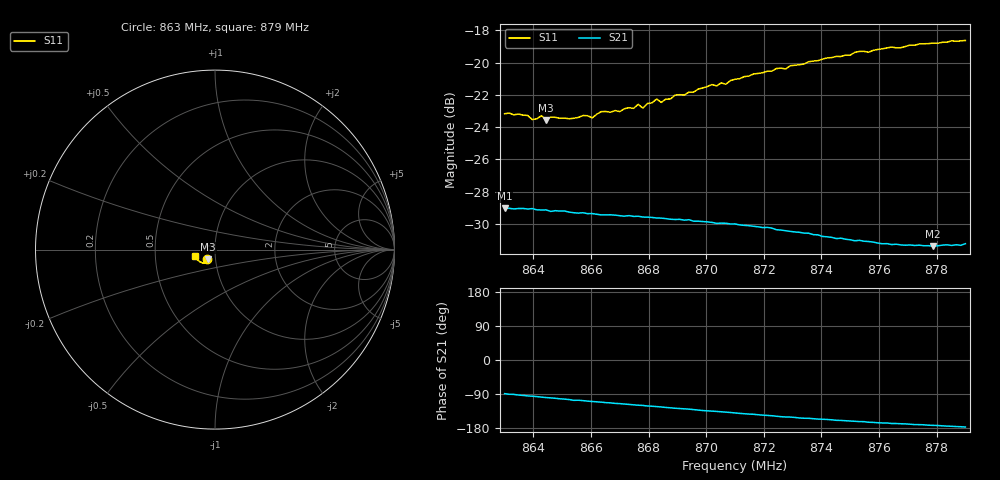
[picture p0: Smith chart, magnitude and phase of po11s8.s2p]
# HZ S RI R 50
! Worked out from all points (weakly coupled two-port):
!   101 points, 863 MHz to 879 MHz, reference 50 ohm
!   highest |S21| = -29.03 dB at 863 MHz (marker M1); lowest = -31.4 dB at 877.88 MHz (marker M2)
!   lowest |S11| = -23.6 dB at 864.44 MHz (marker M3), VSWR 1.14, Z = 46.1 - j5.06 ohm
!   |S11| at or under -10 dB: start of sweep to end of sweep
!   S12 and S22 are empty: the file has one direction only
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8.63e8  -0.0442 -0.0535  0.000765 -0.0353  0 0  0 0
8.638e8  -0.0409 -0.055  -0.00288 -0.035  0 0  0 0
8.6396e8  -0.0389 -0.0541  -0.00343 -0.0351  0 0  0 0
8.6428e8  -0.0403 -0.0554  -0.00486 -0.0346  0 0  0 0
8.6444e8  -0.0375 -0.0547  -0.0055 -0.0345  0 0  0 0
8.646e8  -0.0378 -0.0563  -0.00602 -0.034  0 0  0 0
8.6572e8  -0.0353 -0.0587  -0.0101 -0.0327  0 0  0 0
8.6604e8  -0.0339 -0.0582  -0.0114 -0.0321  0 0  0 0
8.6636e8  -0.0363 -0.0604  -0.0122 -0.0314  0 0  0 0
8.67e8  -0.0355 -0.0608  -0.0142 -0.0303  0 0  0 0
8.6764e8  -0.0357 -0.0651  -0.0163 -0.0291  0 0  0 0
8.678e8  -0.0353 -0.063  -0.0166 -0.0288  0 0  0 0
8.6828e8  -0.0373 -0.0675  -0.0179 -0.0277  0 0  0 0
8.6844e8  -0.0366 -0.0658  -0.0184 -0.0273  0 0  0 0
8.6892e8  -0.039 -0.0691  -0.0198 -0.0259  0 0  0 0
8.702e8  -0.0438 -0.0733  -0.0226 -0.0226  0 0  0 0
8.7068e8  -0.0459 -0.0723  -0.0234 -0.0214  0 0  0 0
8.71e8  -0.0489 -0.0741  -0.0241 -0.0205  0 0  0 0
8.7372e8  -0.0687 -0.0741  -0.0265 -0.0124  0 0  0 0
8.7644e8  -0.0934 -0.0614  -0.0266 -0.00586  0 0  0 0
8.7788e8  -0.1039 -0.0493  -0.0267 -0.00352  0 0  0 0
8.79e8  -0.1106 -0.0384  -0.0274 -0.00146  0 0  0 0
